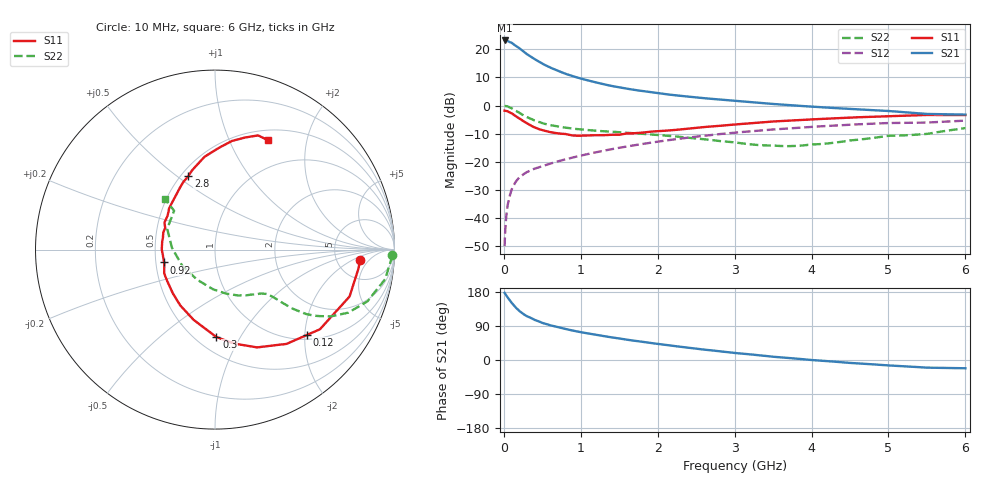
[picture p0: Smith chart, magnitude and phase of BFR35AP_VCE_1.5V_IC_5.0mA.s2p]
! Infineon Technologies  Discrete & RF Semiconductors
! BFR35AP
! VCE =  1.5 V,  IC =  5.0 mA
! Common Emitter S-Parameters:  Nov 2015
# GHz  S  MA  R  50
!  f  S11  S21  S12  S22
! GHz  MAG  ANG  MAG  ANG  MAG  ANG  MAG  ANG
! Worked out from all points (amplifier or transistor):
!   210 points, 10 MHz to 6 GHz, reference 50 ohm
!   highest |S21| = 23.1 dB at 10 MHz (marker M1)
!   |S21| within 3 dB of that: start of sweep to 212.6 MHz
!   unconditionally stable (mu >= 1): 757.6 MHz to 4.452 GHz; 5.103 GHz to end of sweep
!   at 185 MHz: K = 0.39, MSG = 23.3 dB, |S12| = -26.0 dB
!   at 1.52 GHz: K = 1.16, MAG = 8.2 dB, |S12| = -14.9 dB
!   at 6 GHz: K = 1.01, MAG = 0.5 dB, |S12| = -5.4 dB
!   S11 on the Smith chart (normalised r, x): 10 MHz: 8.56, -2.98; 120 MHz: 1.10, -2.04; 300 MHz: 0.62, -0.80; 920 MHz: 0.55, -0.09; 2.8 GHz: 0.54, +0.55; 6 GHz: 0.62, +1.40
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0.01  0.8114 -4.2  14.26 177.0  0.0032 85.7  0.9885 -1.9
0.025  0.8015 -9.7  13.99 172.3  0.0085 83.6  0.9769 -5.0
0.05  0.794 -19.2  13.94 164.9  0.0172 79.6  0.9618 -9.9
0.1  0.7341 -37.2  13.01 151.3  0.0319 70.9  0.8975 -18.7
0.12  0.6982 -43.0  12.38 146.8  0.0366 67.8  0.8659 -21.2
0.15  0.6595 -52.8  11.6 139.1  0.0437 64.5  0.822 -25.3
0.2  0.5932 -66.7  10.43 129.6  0.0528 59.9  0.7444 -30.0
0.26  0.5227 -80.7  8.982 120.5  0.061 56.2  0.6656 -33.6
0.3  0.4872 -89.1  8.157 115.5  0.066 55.0  0.6239 -35.2
0.4  0.4089 -107.0  6.656 105.9  0.0759 53.2  0.5421 -37.3
0.5  0.3665 -121.8  5.514 97.9  0.0837 52.9  0.4848 -38.2
0.6  0.3388 -133.8  4.729 91.8  0.093 53.1  0.4493 -38.6
0.7  0.3217 -144.3  4.137 86.5  0.102 53.5  0.4255 -39.1
0.92  0.2926 -165.8  3.239 76.6  0.1221 54.2  0.3863 -40.3
1.02  0.2921 -174.0  2.961 72.7  0.131 54.4  0.3747 -41.2
1.4  0.3038 161.4  2.225 59.8  0.168 53.9  0.3438 -46.2
2.02  0.3515 134.1  1.644 42.0  0.2308 50.1  0.298 -58.5
2.8  0.4355 110.0  1.28 23.1  0.3109 42.1  0.2352 -83.4
3.1  0.4715 103.9  1.179 16.8  0.3391 38.3  0.2129 -97.3
4.1  0.5758 86.4  0.938 -1.4  0.4262 25.5  0.2065 -160.6
5.1  0.6523 73.9  0.781 -15.4  0.4906 11.6  0.2922 152.3
6  0.6772 64.3  0.69 -21.8  0.5397 1.7  0.3982 134.6
